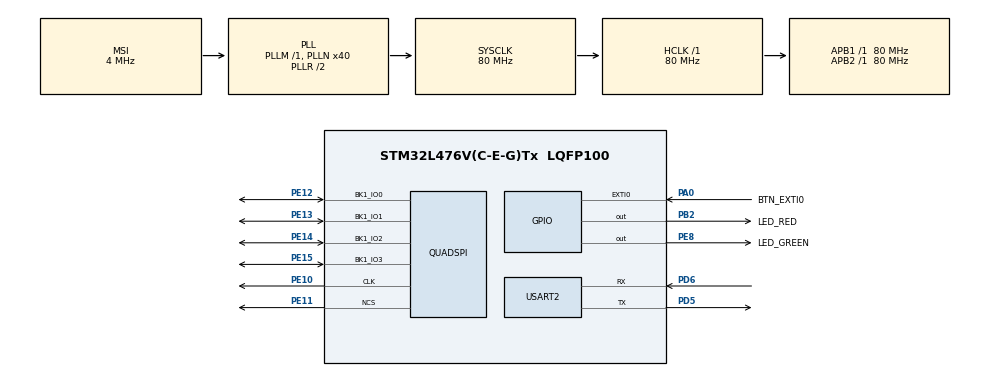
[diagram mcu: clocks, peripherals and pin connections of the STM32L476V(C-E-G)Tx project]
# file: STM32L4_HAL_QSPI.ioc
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Mcu.Family=STM32L4
Mcu.Name=STM32L476V(C-E-G)Tx
Mcu.Package=LQFP100
NVIC.PriorityGroup=NVIC_PRIORITYGROUP_4
PA0.GPIO_Label=BTN_EXTI0
PA0.Signal=GPXTI0
PA13\ (JTMS-SWDIO).Mode=Serial_Wire
PA13\ (JTMS-SWDIO).Signal=SYS_JTMS-SWDIO
PA14\ (JTCK-SWCLK).Mode=Serial_Wire
PA14\ (JTCK-SWCLK).Signal=SYS_JTCK-SWCLK
PB2.GPIO_Label=LED_RED
PB2.Signal=GPIO_Output
PC14-OSC32_IN\ (PC14).Mode=LSE-External-Oscillator
PC14-OSC32_IN\ (PC14).Signal=RCC_OSC32_IN
PC15-OSC32_OUT\ (PC15).Mode=LSE-External-Oscillator
PC15-OSC32_OUT\ (PC15).Signal=RCC_OSC32_OUT
PD5.Mode=Asynchronous
PD5.Signal=USART2_TX
PD6.Mode=Asynchronous
PD6.Signal=USART2_RX
PE10.Mode=Single Bank
PE10.Signal=QUADSPI_CLK
PE11.Mode=Single Bank
PE11.Signal=QUADSPI_NCS
PE12.Mode=Single Bank
PE12.Signal=QUADSPI_BK1_IO0
PE13.Mode=Single Bank
PE13.Signal=QUADSPI_BK1_IO1
PE14.Mode=Single Bank
PE14.Signal=QUADSPI_BK1_IO2
PE15.Mode=Single Bank
PE15.Signal=QUADSPI_BK1_IO3
PE8.GPIO_Label=LED_GREEN
PE8.Signal=GPIO_Output
ProjectManager.HeapSize=0x200
ProjectManager.StackSize=0x400
ProjectManager.TargetToolchain=STM32CubeIDE
QUADSPI.ClockPrescaler-Single\ Bank=(5-1)
QUADSPI.FifoThreshold-Single\ Bank=4
QUADSPI.FlashSize-Single\ Bank=(24-1)
RCC.ADCFreq_Value=48000000
RCC.AHBFreq_Value=80000000
RCC.APB1Freq_Value=80000000
RCC.APB1TimFreq_Value=80000000
RCC.APB2Freq_Value=80000000
RCC.APB2TimFreq_Value=80000000
RCC.CortexFreq_Value=80000000
RCC.HCLKFreq_Value=80000000
RCC.HSE_VALUE=8000000
RCC.HSI_VALUE=16000000
RCC.MSIAutoCalibration=ENABLED
RCC.MSI_VALUE=4000000
RCC.PLLN=40
RCC.PLLSAI1N=24
RCC.SYSCLKFreq_VALUE=80000000
RCC.SYSCLKSource=RCC_SYSCLKSOURCE_PLLCLK
RCC.USBFreq_Value=48000000
RCC.VCOOutputFreq_Value=160000000
USART2.VirtualMode-Asynchronous=VM_ASYNC
board=STM32L476G-DISCO

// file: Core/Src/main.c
/* USER CODE BEGIN Header */
/**
  ******************************************************************************
  * @file           : main.c
  * @brief          : Main program body
  ******************************************************************************
  * @attention
  *
  * Copyright (c) 2023 STMicroelectronics.
  * All rights reserved.
  *
  * This software is licensed under terms that can be found in the LICENSE file
  * in the root directory of this software component.
  * If no LICENSE file comes with this software, it is provided AS-IS.
  *
  ******************************************************************************
  */
/* USER CODE END Header */
#include "main.h"
#include "quadspi.h"
#include "usart.h"
#include "gpio.h"

/* USER CODE BEGIN PV */
#define READ_ID_CMD   0x9E
QSPI_CommandTypeDef sCommand;
uint8_t ID_REG[3];
/* USER CODE END PV */

void SystemClock_Config(void);

/* USER CODE BEGIN 0 */

void ReadQSPIFlash(void)
{
  sCommand.InstructionMode = QSPI_INSTRUCTION_1_LINE;
  sCommand.Instruction = READ_ID_CMD;
  sCommand.AddressMode = QSPI_ADDRESS_NONE;
  sCommand.AlternateByteMode = QSPI_ALTERNATE_BYTES_NONE;
  sCommand.DataMode = QSPI_DATA_1_LINE;
  sCommand.DummyCycles = 0;
  sCommand.Address = 0;
  sCommand.DdrMode = QSPI_DDR_MODE_DISABLE;
  sCommand.SIOOMode = QSPI_SIOO_INST_EVERY_CMD;
  sCommand.NbData = 3;

  HAL_QSPI_Command(&hqspi, &sCommand, 100);
  HAL_QSPI_Receive(&hqspi, ID_REG, 100);

  asm("NOP");
}

/* USER CODE END 0 */

int main(void)
{

  /* MCU Configuration--------------------------------------------------------*/

  /* Reset of all peripherals, Initializes the Flash interface and the Systick. */
  HAL_Init();

  /* Configure the system clock */
  SystemClock_Config();

  /* Initialize all configured peripherals */
  MX_GPIO_Init();
  MX_USART2_UART_Init();
  MX_QUADSPI_Init();
  /* USER CODE BEGIN 2 */
  ReadQSPIFlash();

  /* USER CODE END 2 */

  /* Infinite loop */
  while (1)
  {

  }
}

void SystemClock_Config(void)
{
  RCC_OscInitTypeDef RCC_OscInitStruct = {0};
  RCC_ClkInitTypeDef RCC_ClkInitStruct = {0};

  /** Configure the main internal regulator output voltage
  */
  if (HAL_PWREx_ControlVoltageScaling(PWR_REGULATOR_VOLTAGE_SCALE1) != HAL_OK)
  {
    Error_Handler();
  }

  /** Configure LSE Drive Capability
  */
  HAL_PWR_EnableBkUpAccess();
  __HAL_RCC_LSEDRIVE_CONFIG(RCC_LSEDRIVE_LOW);

  /** Initializes the RCC Oscillators according to the specified parameters
  * in the RCC_OscInitTypeDef structure.
  */
  RCC_OscInitStruct.OscillatorType = RCC_OSCILLATORTYPE_LSE|RCC_OSCILLATORTYPE_MSI;
  RCC_OscInitStruct.LSEState = RCC_LSE_ON;
  RCC_OscInitStruct.MSIState = RCC_MSI_ON;
  RCC_OscInitStruct.MSICalibrationValue = 0;
  RCC_OscInitStruct.MSIClockRange = RCC_MSIRANGE_6;
  RCC_OscInitStruct.PLL.PLLState = RCC_PLL_ON;
  RCC_OscInitStruct.PLL.PLLSource = RCC_PLLSOURCE_MSI;
  RCC_OscInitStruct.PLL.PLLM = 1;
  RCC_OscInitStruct.PLL.PLLN = 40;
  RCC_OscInitStruct.PLL.PLLP = RCC_PLLP_DIV7;
  RCC_OscInitStruct.PLL.PLLQ = RCC_PLLQ_DIV2;
  RCC_OscInitStruct.PLL.PLLR = RCC_PLLR_DIV2;
  if (HAL_RCC_OscConfig(&RCC_OscInitStruct) != HAL_OK)
  {
    Error_Handler();
  }

  /** Initializes the CPU, AHB and APB buses clocks
  */
  RCC_ClkInitStruct.ClockType = RCC_CLOCKTYPE_HCLK|RCC_CLOCKTYPE_SYSCLK
                              |RCC_CLOCKTYPE_PCLK1|RCC_CLOCKTYPE_PCLK2;
  RCC_ClkInitStruct.SYSCLKSource = RCC_SYSCLKSOURCE_PLLCLK;
  RCC_ClkInitStruct.AHBCLKDivider = RCC_SYSCLK_DIV1;
  RCC_ClkInitStruct.APB1CLKDivider = RCC_HCLK_DIV1;
  RCC_ClkInitStruct.APB2CLKDivider = RCC_HCLK_DIV1;

  if (HAL_RCC_ClockConfig(&RCC_ClkInitStruct, FLASH_LATENCY_4) != HAL_OK)
  {
    Error_Handler();
  }

  /** Enable MSI Auto calibration
  */
  HAL_RCCEx_EnableMSIPLLMode();
}

void Error_Handler(void)
{
  __disable_irq();
  while (1)
  {
  }
}
